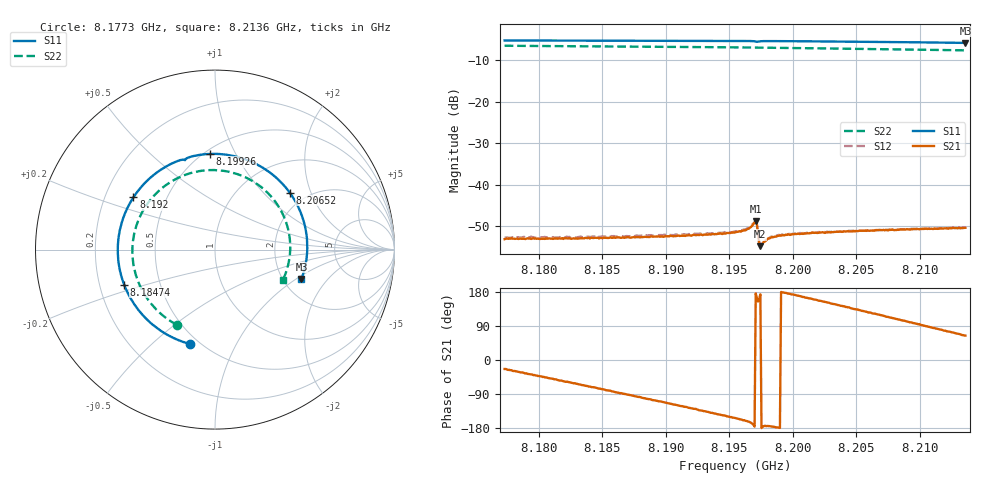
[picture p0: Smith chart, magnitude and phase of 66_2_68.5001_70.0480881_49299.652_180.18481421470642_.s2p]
#  HZ  S  RI  R  50.00
! Rohde & Schwarz Vector Network Analyzer
! Rohde-Schwarz,ZNB20-2Port,1311601062101988,3.16
! Created: UTC 3/20/2024, 5:06:42 PM
! freq[Hz]  re:S11  im:S11  re:S21  im:S21  re:S12  im:S12  re:S22  im:S22
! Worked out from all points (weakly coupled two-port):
!   401 points, 8.1773 GHz to 8.2136 GHz, reference 50 ohm
!   highest |S21| = -48.77 dB at 8.19708 GHz (marker M1); lowest = -54.8 dB at 8.19745 GHz (marker M2)
!   lowest |S11| = -5.9 dB at 8.2136 GHz (marker M3), VSWR 3.07, Z = 125 - j55.3 ohm
!   |S11| at or under -10 dB: nowhere
!   |S22| runs from -7.7 to -6.6 dB; largest |S21 - S12| = 0.00017
!   S11 on the Smith chart (normalised r, x): 8.1773 GHz: 0.45, -0.67; 8.18474 GHz: 0.31, -0.17; 8.192 GHz: 0.32, +0.26; 8.19926 GHz: 0.53, +0.79; 8.20652 GHz: 1.64, +1.44; 8.2136 GHz: 2.51, -1.11
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8.177301e9  -0.137 -0.5267  0.00203 -0.000892  0.00211 -0.000948  -0.2136 -0.4187
8.180114e9  -0.3119 -0.4451  0.00163 -0.00152  0.00167 -0.0016  -0.3384 -0.3216
8.183381e9  -0.4649 -0.2805  0.000923 -0.00209  0.000935 -0.00216  -0.4324 -0.1666
8.184742e9  -0.5063 -0.1956  0.000579 -0.00219  0.000583 -0.0023  -0.4526 -0.0936
8.187101e9  -0.5409 -0.0353  -7.13e-05 -0.00233  -0.000146 -0.00238  -0.4582 0.0371
8.18946e9  -0.5255 0.1284  -0.000785 -0.00226  -0.000867 -0.00234  -0.4268 0.1641
8.192001e9  -0.4547 0.291  -0.00148 -0.00194  -0.0016 -0.00196  -0.3538 0.2846
8.195449e9  -0.2812 0.4579  -0.00238 -0.00122  -0.0025 -0.00116  -0.2023 0.4012
8.196447e9  -0.2173 0.49  -0.00281 -0.000916  -0.0029 -0.000828  -0.15 0.4218
8.196992e9  -0.1775 0.5012  -0.00352 -0.00026  -0.00356 -0.000119  -0.1204 0.4302
8.197083e9  -0.171 0.5002  -0.00363 0.000275  -0.00364 0.000439  -0.1154 0.4313
8.197446e9  -0.1578 0.5083  -0.00182 0.000214  -0.00184 0.000327  -0.0957 0.4356
8.197536e9  -0.1514 0.5116  -0.00189 -1.24e-05  -0.00191 0.000105  -0.0906 0.4365
8.198171e9  -0.1058 0.5242  -0.00226 -0.000215  -0.00232 -0.000129  -0.0549 0.4413
8.19926e9  -0.0285 0.533  -0.00248 7.36e-05  -0.00251 0.000152  0.00684 0.4427
8.201529e9  0.1303 0.5149  -0.00251 0.000855  -0.0025 0.000991  0.1333 0.4176
8.203979e9  0.2871 0.4429  -0.00216 0.0017  -0.0021 0.00178  0.2564 0.3494
8.20652e9  0.416 0.3179  -0.00149 0.00241  -0.00142 0.00246  0.355 0.239
8.207608e9  0.4565 0.252  -0.00111 0.00266  -0.00106 0.00269  0.3847 0.1817
8.209151e9  0.4964 0.1497  -0.000519 0.00286  -0.000448 0.00289  0.4117 0.0936
8.210603e9  0.5133 0.0476  6.47e-05 0.00294  0.000163 0.00297  0.4192 0.00614
8.213597e9  0.4817 -0.1634  0.00131 0.00274  0.0014 0.00272  0.3765 -0.1721
